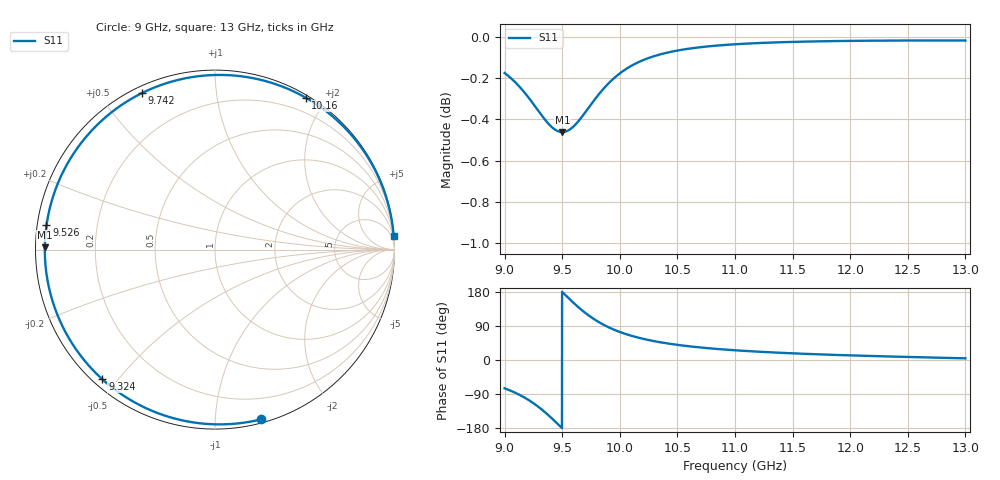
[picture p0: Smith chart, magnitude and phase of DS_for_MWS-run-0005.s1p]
! TOUCHSTONE file generated by CST DESIGN STUDIO
! Date and time: Wed Feb  5 13:18:16 2025
! Project name: C:\Work\MatlabApps\UnitCellOptimizationMatlab\CST\unitcell.cst
! Tree item: Tasks\Sweep1\SPara1\S-Parameters
! Header version: 2024
! Port assignment regex: !\s*Touchstone port\s*([0-9]+)\s*=\s*(CST MWS port|CST DES external port|CST DES block port)\s*(.+)\s* \(\"(.*)\"\)(\s*mode\s*([0-9]+))?.*
! Touchstone port assignment:
! Touchstone port 1 = CST DES external port 1 ("")
# GHz S MA R 50
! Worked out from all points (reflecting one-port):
!   4001 points, 9 GHz to 13 GHz, reference 50 ohm
!   lowest |S11| = -0.5 dB at 9.501 GHz (marker M1), VSWR 37.66, Z = 1.33 + j0.312 ohm
!   phase of S11 starts at -75 deg and turns -281 deg over the sweep
!   S11 on the Smith chart (normalised r, x): 9 GHz: 0.03, -1.31; 9.324 GHz: 0.03, -0.46; 9.526 GHz: 0.03, +0.07; 9.742 GHz: 0.03, +0.64; 10.16 GHz: 0.03, +1.76; 13 GHz: 1, +26
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9  0.9802 -74.7
9.086  0.9755 -85.5
9.187  0.9684 -101.7
9.258  0.9626 -115.7
9.324  0.957 -131.0
9.371  0.9534 -143.2
9.42  0.9504 -156.8
9.461  0.9488 -168.8
9.5  0.9483 179.6
9.501  0.9483 179.3
9.526  0.9485 171.8
9.579  0.9502 156.3
9.639  0.9539 139.7
9.69  0.958 126.8
9.742  0.9624 114.9
9.795  0.9667 104.2
9.853  0.9712 94.0
9.926  0.976 83.1
10  0.9799 74.0
10.159  0.986 59.1
10.314  0.9897 48.8
10.5  0.9925 40.0
10.722  0.9946 32.4
11  0.996 25.7
11.5  0.9974 17.6
12  0.9979 12.2
12.5  0.9981 8.0
13  0.9981 4.4
